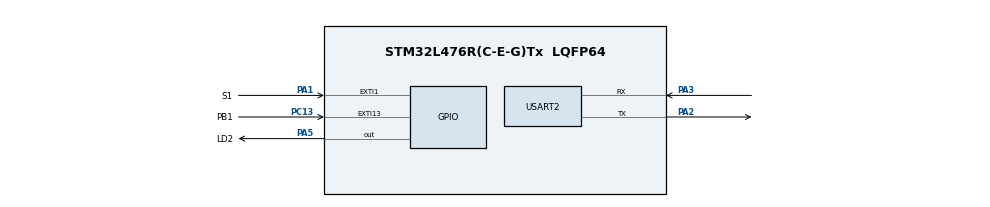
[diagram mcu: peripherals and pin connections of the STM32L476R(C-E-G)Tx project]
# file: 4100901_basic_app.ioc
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Mcu.Family=STM32L4
Mcu.Name=STM32L476R(C-E-G)Tx
Mcu.Package=LQFP64
NVIC.EXTI15_10_IRQn=true\:0\:0\:false\:false\:true\:true\:true\:true
NVIC.EXTI1_IRQn=true\:0\:0\:false\:false\:true\:true\:true\:true
NVIC.PriorityGroup=NVIC_PRIORITYGROUP_4
PA1.GPIO_Label=S1
PA1.GPIO_ModeDefaultEXTI=GPIO_MODE_IT_FALLING
PA1.GPIO_PuPd=GPIO_PULLUP
PA1.Signal=GPXTI1
PA2.Mode=Asynchronous
PA2.Signal=USART2_TX
PA3.Mode=Asynchronous
PA3.Signal=USART2_RX
PA5.GPIO_Label=LD2
PA5.GPIO_ModeDefaultOutputPP=GPIO_MODE_OUTPUT_PP
PA5.PinState=GPIO_PIN_RESET
PA5.Signal=GPIO_Output
PC13.GPIO_Label=PB1
PC13.GPIO_ModeDefaultEXTI=GPIO_MODE_IT_FALLING
PC13.Signal=GPXTI13
ProjectManager.HeapSize=0x200
ProjectManager.StackSize=0x400
ProjectManager.TargetToolchain=STM32CubeIDE
RCC.HSE_VALUE=8000000
RCC.HSI_VALUE=16000000
RCC.LSE_VALUE=32768
RCC.MSI_VALUE=4000000
RCC.VCOOutputFreq_Value=32000000
USART2.VirtualMode-Asynchronous=VM_ASYNC
board=custom

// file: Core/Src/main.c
/* USER CODE BEGIN Header */
/**
  **************************
  * @file           : main.c
  * @brief          : Main program body
  **************************
  * @attention
  *
  * Copyright (c) 2024 STMicroelectronics.
  * All rights reserved.
  *
  * This software is licensed under terms that can be found in the LICENSE file
  * in the root directory of this software component.
  * If no LICENSE file comes with this software, it is provided AS-IS.
  *
  **************************
  */
/* USER CODE END Header */
#include "main.h"

UART_HandleTypeDef huart2;

void SystemClock_Config(void);
static void MX_GPIO_Init(void);
static void MX_USART2_UART_Init(void);

/* USER CODE BEGIN 0 */
void HAL_GPIO_EXTI_Callback(uint16_t GPIO_Pin)
{
  /* Prevent unused argument(s) compilation warning */
  UNUSED(GPIO_Pin);
  if(GPIO_Pin == GPIO_PIN_13){
	  HAL_GPIO_TogglePin(LD2_GPIO_Port, LD2_Pin);
	  HAL_UART_Transmit(&huart2, "PB1\r\n", 5, 10);
  }else if(GPIO_Pin == GPIO_PIN_1){
	  HAL_GPIO_WritePin(LD2_GPIO_Port, LD2_Pin, 0);
	  for (uint16_t counter = 0; counter < 0xEFFF; counter++){}
	  HAL_GPIO_WritePin(LD2_GPIO_Port, LD2_Pin, 1);
  }

  HAL_GPIO_TogglePin(LD2_GPIO_Port, LD2_Pin);

  /* NOTE: This function should not be modified, when the callback is needed,
           the HAL_GPIO_EXTI_Callback could be implemented in the user file
   */
}
/* USER CODE END 0 */

int main(void)
{

  /* MCU Configuration--------------------------------------------------------*/

  /* Reset of all peripherals, Initializes the Flash interface and the Systick. */
  HAL_Init();

  /* Configure the system clock */
  SystemClock_Config();

  /* Initialize all configured peripherals */
  MX_GPIO_Init();
  MX_USART2_UART_Init();
  /* USER CODE BEGIN 2 */
  HAL_UART_Transmit(&huart2, "HELLO_WORLD\r\n", 12, 10);
  /* USER CODE END 2 */

  /* Infinite loop */
  /* USER CODE BEGIN WHILE */

  //uint32_t timeout_tick;
  while (1)
  {
	  if (HAL_GPIO_ReadPin(GPIOC, GPIO_PIN_13) == 0){
		  HAL_GPIO_WritePin(GPIOA, GPIO_PIN_5, 1);
	  }else {
		  HAL_GPIO_WritePin(GPIOA, GPIO_PIN_5, 0);
	  }

    /* USER CODE END WHILE */

  }
}

void SystemClock_Config(void)
{
  RCC_OscInitTypeDef RCC_OscInitStruct = {0};
  RCC_ClkInitTypeDef RCC_ClkInitStruct = {0};

  /** Configure the main internal regulator output voltage
  */
  if (HAL_PWREx_ControlVoltageScaling(PWR_REGULATOR_VOLTAGE_SCALE1) != HAL_OK)
  {
    Error_Handler();
  }

  /** Initializes the RCC Oscillators according to the specified parameters
  * in the RCC_OscInitTypeDef structure.
  */
  RCC_OscInitStruct.OscillatorType = RCC_OSCILLATORTYPE_MSI;
  RCC_OscInitStruct.MSIState = RCC_MSI_ON;
  RCC_OscInitStruct.MSICalibrationValue = 0;
  RCC_OscInitStruct.MSIClockRange = RCC_MSIRANGE_6;
  RCC_OscInitStruct.PLL.PLLState = RCC_PLL_NONE;
  if (HAL_RCC_OscConfig(&RCC_OscInitStruct) != HAL_OK)
  {
    Error_Handler();
  }

  /** Initializes the CPU, AHB and APB buses clocks
  */
  RCC_ClkInitStruct.ClockType = RCC_CLOCKTYPE_HCLK|RCC_CLOCKTYPE_SYSCLK
                              |RCC_CLOCKTYPE_PCLK1|RCC_CLOCKTYPE_PCLK2;
  RCC_ClkInitStruct.SYSCLKSource = RCC_SYSCLKSOURCE_MSI;
  RCC_ClkInitStruct.AHBCLKDivider = RCC_SYSCLK_DIV1;
  RCC_ClkInitStruct.APB1CLKDivider = RCC_HCLK_DIV1;
  RCC_ClkInitStruct.APB2CLKDivider = RCC_HCLK_DIV1;

  if (HAL_RCC_ClockConfig(&RCC_ClkInitStruct, FLASH_LATENCY_0) != HAL_OK)
  {
    Error_Handler();
  }
}

static void MX_USART2_UART_Init(void)
{

  huart2.Instance = USART2;
  huart2.Init.BaudRate = 115200;
  huart2.Init.WordLength = UART_WORDLENGTH_8B;
  huart2.Init.StopBits = UART_STOPBITS_1;
  huart2.Init.Parity = UART_PARITY_NONE;
  huart2.Init.Mode = UART_MODE_TX_RX;
  huart2.Init.HwFlowCtl = UART_HWCONTROL_NONE;
  huart2.Init.OverSampling = UART_OVERSAMPLING_16;
  huart2.Init.OneBitSampling = UART_ONE_BIT_SAMPLE_DISABLE;
  huart2.AdvancedInit.AdvFeatureInit = UART_ADVFEATURE_NO_INIT;
  if (HAL_UART_Init(&huart2) != HAL_OK)
  {
    Error_Handler();
  }

}

static void MX_GPIO_Init(void)
{
  GPIO_InitTypeDef GPIO_InitStruct = {0};

  /* GPIO Ports Clock Enable */
  __HAL_RCC_GPIOC_CLK_ENABLE();
  __HAL_RCC_GPIOA_CLK_ENABLE();

  /*Configure GPIO pin Output Level */
  HAL_GPIO_WritePin(LD2_GPIO_Port, LD2_Pin, GPIO_PIN_RESET);

  /*Configure GPIO pin : PB1_Pin */
  GPIO_InitStruct.Pin = PB1_Pin;
  GPIO_InitStruct.Mode = GPIO_MODE_IT_FALLING;
  GPIO_InitStruct.Pull = GPIO_NOPULL;
  HAL_GPIO_Init(PB1_GPIO_Port, &GPIO_InitStruct);

  /*Configure GPIO pin : S1_Pin */
  GPIO_InitStruct.Pin = S1_Pin;
  GPIO_InitStruct.Mode = GPIO_MODE_IT_FALLING;
  GPIO_InitStruct.Pull = GPIO_PULLUP;
  HAL_GPIO_Init(S1_GPIO_Port, &GPIO_InitStruct);

  /*Configure GPIO pin : LD2_Pin */
  GPIO_InitStruct.Pin = LD2_Pin;
  GPIO_InitStruct.Mode = GPIO_MODE_OUTPUT_PP;
  GPIO_InitStruct.Pull = GPIO_NOPULL;
  GPIO_InitStruct.Speed = GPIO_SPEED_FREQ_LOW;
  HAL_GPIO_Init(LD2_GPIO_Port, &GPIO_InitStruct);

  /* EXTI interrupt init*/
  HAL_NVIC_SetPriority(EXTI1_IRQn, 0, 0);
  HAL_NVIC_EnableIRQ(EXTI1_IRQn);

  HAL_NVIC_SetPriority(EXTI15_10_IRQn, 0, 0);
  HAL_NVIC_EnableIRQ(EXTI15_10_IRQn);

}

void Error_Handler(void)
{
  __disable_irq();
  while (1)
  {
  }
}
